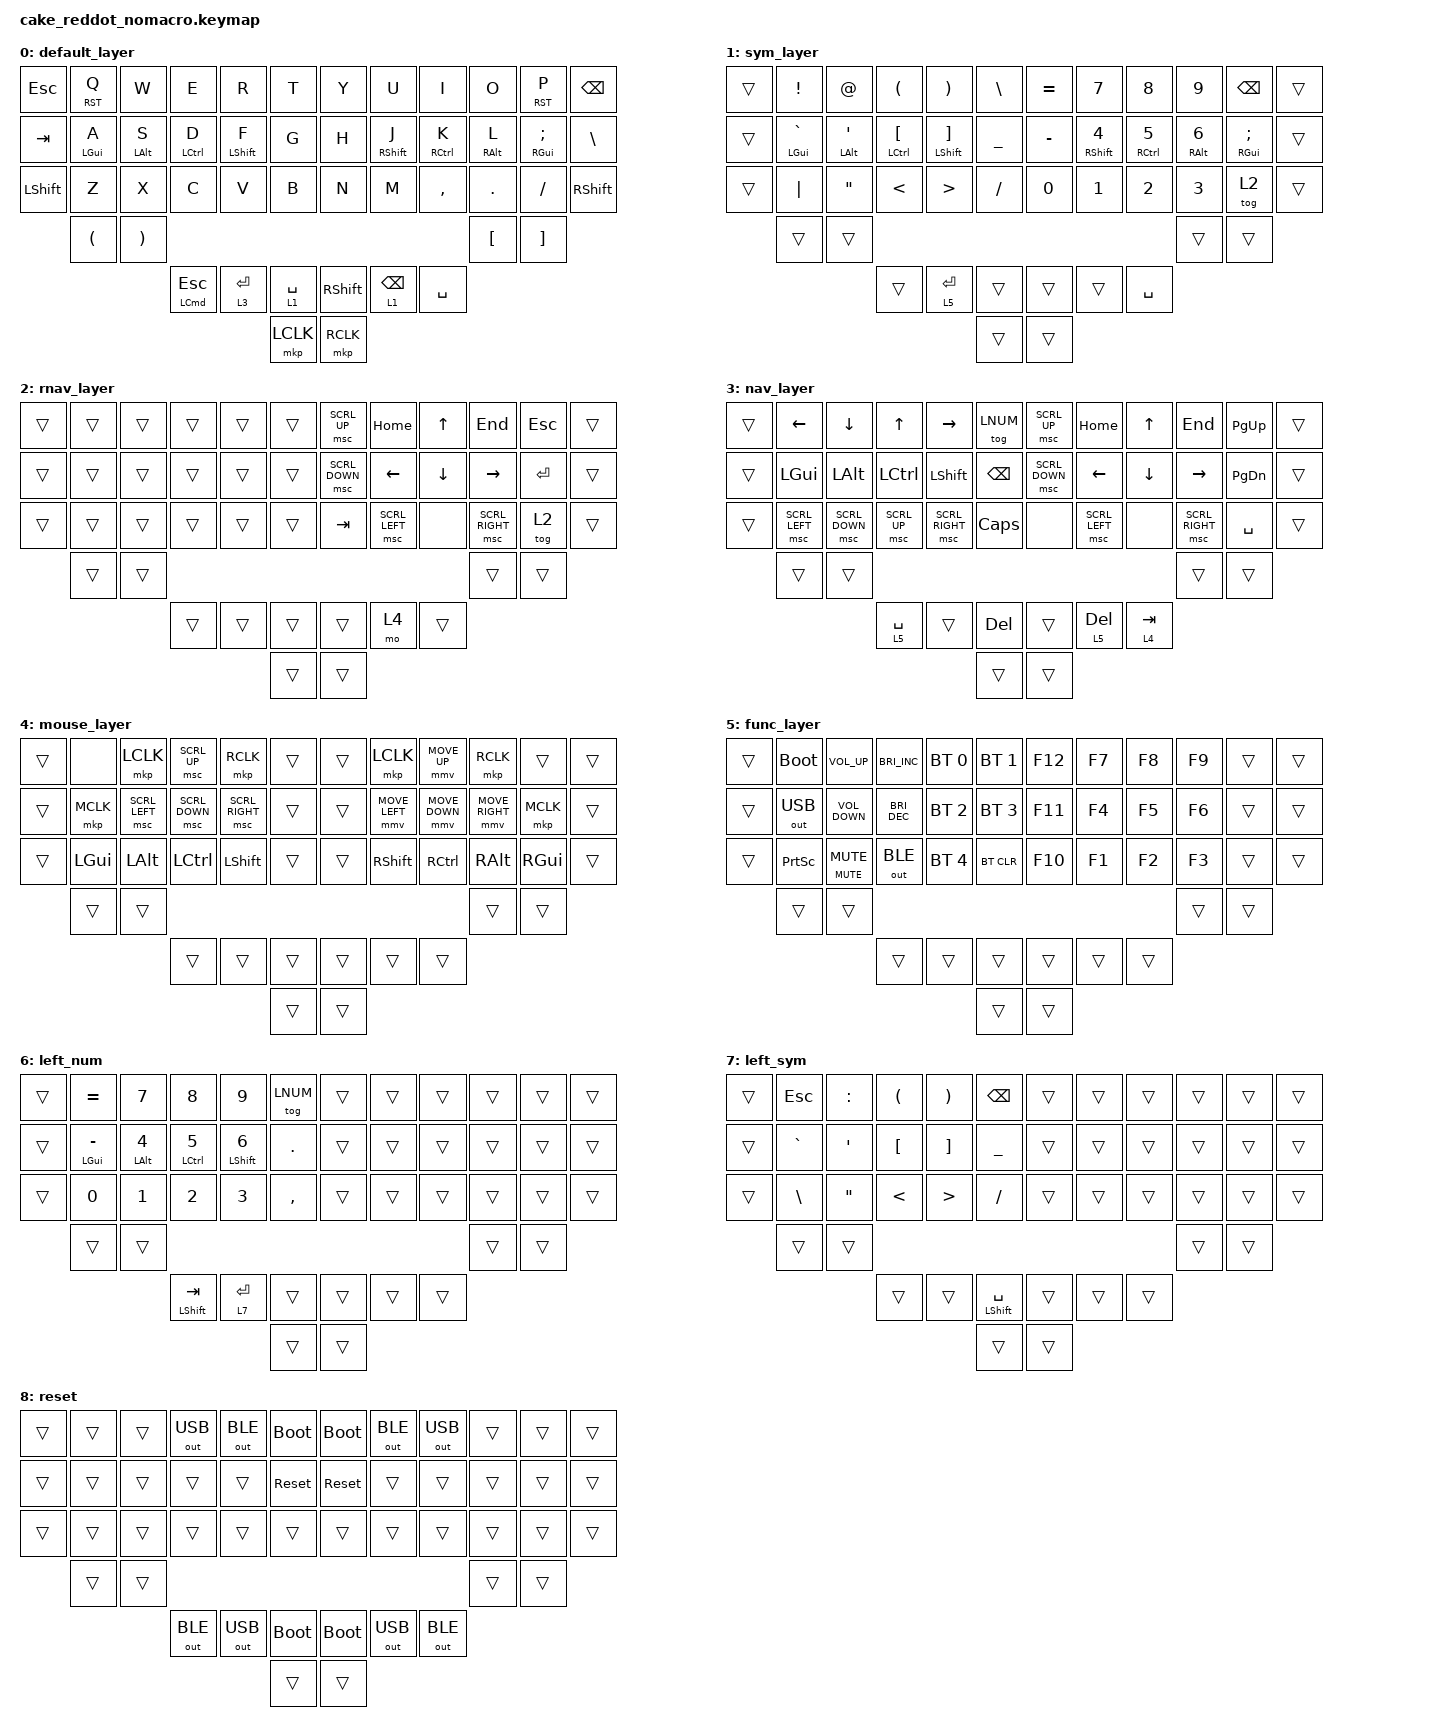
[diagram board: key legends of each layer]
#include <behaviors.dtsi>
#include <dt-bindings/zmk/bt.h>
#include <dt-bindings/zmk/keys.h>
#include <dt-bindings/zmk/outputs.h>
#include <dt-bindings/zmk/pointing.h>

#define DEFAULT 0
#define SYM     1
#define RNAV    2
#define NAV     3
#define MOUSE   4
#define FUNC    5
#define LNUM    6
#define LSYM    7
#define RST     8

/*
 * Defines to enable/disable features
 */

#define HAS_MOUSE_KEYS
#define HAS_MOUSE_TP

/ {
    combos { compatible = "zmk,combos"; };
};

/ {
    behaviors {
        hm: homerow_mods {
            compatible = "zmk,behavior-hold-tap";
            label = "HOMEROW_MODS";
            #binding-cells = <2>;
            tapping-term-ms = <200>;
            flavor = "balanced";
            bindings = <&kp>, <&kp>;

            quick-tap-ms = <0>;
        };

        hs: homerow_shift {
            compatible = "zmk,behavior-hold-tap";
            label = "HOMEROW_SHIFT";
            #binding-cells = <2>;
            tapping-term-ms = <175>;
            flavor = "balanced";
            bindings = <&kp>, <&kp>;

            quick-tap-ms = <0>;
        };

        rst: reset_hold_tap {
            compatible = "zmk,behavior-hold-tap";
            label = "reset_hold_tap";
            bindings = <&mo>, <&kp>;

            #binding-cells = <2>;
            tapping-term-ms = <999>;
            flavor = "tap-preferred";
            quick-tap-ms = <200>;
        };

        bsp_l: bsp_l {
            compatible = "zmk,behavior-hold-tap";
            label = "BSP_L";
            bindings = <&mo>, <&kp>;

            #binding-cells = <2>;
            tapping-term-ms = <200>;
            quick-tap-ms = <100>;
        };

        placeholder: placeholder {
            compatible = "zmk,behavior-hold-tap";
            label = "PLACEHOLDER";
            bindings = <&mo>, <&kp>;

            #binding-cells = <2>;
            tapping-term-ms = <200>;
        };
    };

    keymap {
        compatible = "zmk,keymap";

        default_layer {
            label = "default_layer";
            bindings = <
//    ┌──────┬──────────────┬────────────┬─────────────┬────────────┬──────────┐   ┌──────┬───────────────┬────────────┬────────────┬──────────────┬──────┐
//    │ esc  │ &rst rsftT Q │     W      │      E      │     R      │    T     │   │  Y   │       U       │     I      │     O      │ &rst rsftT P │ bspc │
//    ├──────┼──────────────┼────────────┼─────────────┼────────────┼──────────┤   ├──────┼───────────────┼────────────┼────────────┼──────────────┼──────┤
//    │ tab  │  &hm lgui A  │ &hm lalt S │ &hm lctl D  │ &hs lsft F │    G     │   │  H   │  &hs rsft J   │ &hm rctl K │ &hm ralt L │  &hm rgui ;  │  \   │
//    ├──────┼──────────────┼────────────┼─────────────┼────────────┼──────────┤   ├──────┼───────────────┼────────────┼────────────┼──────────────┼──────┤
//    │ lsft │      Z       │     X      │      C      │     V      │    B     │   │  N   │       M       │     ,      │     .      │      /       │ rsft │
//    └──────┼──────────────┼────────────┼─────────────┴────────────┴──────────┘   └──────┴───────────────┴────────────┼────────────┼──────────────┼──────┘
//           │      (       │     )      │                                                                             │     [      │      ]       │
//           └──────────────┴────────────┼─────────────┬────────────┬──────────┐   ┌──────┬───────────────┬────────────┼────────────┴──────────────┘
//                                       │ mt lgui esc │  lt 3 ent  │ lt 1 spc │   │ rsft │ &bsp_l 1 bspc │    spc     │
//                                       └─────────────┴────────────┼──────────┤   ├──────┼───────────────┴────────────┘
//                                                                  │   lclk   │   │ rclk │
//                                                                  └──────────┘   └──────┘
  &kp ESC     &rst RST Q   &kp W        &kp E                     &kp R          &kp T             &kp Y             &kp U                &kp I         &kp O        &rst RST P      &kp BSPC
  &kp TAB     &hm LGUI A   &hm LALT S   &hm LCTRL D               &hs LSHIFT F   &kp G             &kp H             &hs RSHIFT J         &hm RCTRL K   &hm RALT L   &hm RGUI SEMI   &kp BSLH
  &kp LSHFT   &kp Z        &kp X        &kp C                     &kp V          &kp B             &kp N             &kp M                &kp COMMA     &kp DOT      &kp FSLH        &kp RSHFT
              &kp LPAR     &kp RPAR                                                                                                                     &kp LBKT     &kp RBKT
                                        &mt LEFT_COMMAND ESCAPE   &lt 3 ENTER    &lt 1 SPACE       &kp RIGHT_SHIFT   &bsp_l 1 BACKSPACE   &kp SPACE
                                                                                 &mkp LCLK         &mkp RCLK
            >;
        };

        sym_layer {
            label = "sym_layer";
            bindings = <
//    ┌─────┬────────────┬────────────┬────────────┬────────────┬─────┐   ┌─────┬────────────┬────────────┬────────────┬────────────┬─────┐
//    │     │     !      │     @      │     (      │     )      │  \  │   │  =  │     7      │     8      │     9      │    bspc    │     │
//    ├─────┼────────────┼────────────┼────────────┼────────────┼─────┤   ├─────┼────────────┼────────────┼────────────┼────────────┼─────┤
//    │     │ &hm lgui ` │ &hm lalt ' │ &hm lctl [ │ &hs lsft ] │  _  │   │  -  │ &hs rsft 4 │ &hm rctl 5 │ &hm ralt 6 │ &hm rgui ; │     │
//    ├─────┼────────────┼────────────┼────────────┼────────────┼─────┤   ├─────┼────────────┼────────────┼────────────┼────────────┼─────┤
//    │     │     |      │     "      │     <      │     >      │  /  │   │  0  │     1      │     2      │     3      │   tog 2    │     │
//    └─────┼────────────┼────────────┼────────────┴────────────┴─────┘   └─────┴────────────┴────────────┼────────────┼────────────┼─────┘
//          │            │            │                                                                   │            │            │
//          └────────────┴────────────┼────────────┬────────────┬─────┐   ┌─────┬────────────┬────────────┼────────────┴────────────┘
//                                    │            │  lt 5 ent  │     │   │     │            │    spc     │
//                                    └────────────┴────────────┼─────┤   ├─────┼────────────┴────────────┘
//                                                              │     │   │     │
//                                                              └─────┘   └─────┘
  &trans   &kp EXCL         &kp AT              &kp LPAR         &kp RPAR          &kp BACKSLASH       &kp EQUAL   &kp N7         &kp N8         &kp N9        &kp BSPC        &trans
  &trans   &hm LGUI GRAVE   &hm LALT APOS       &hm LCTRL LBKT   &hs LSHIFT RBKT   &kp UNDER           &kp MINUS   &hs RSHFT N4   &hm RCTRL N5   &hm RALT N6   &hm RGUI SEMI   &trans
  &trans   &kp PIPE         &kp DOUBLE_QUOTES   &kp LT           &kp GT            &kp SLASH           &kp N0      &kp N1         &kp N2         &kp N3        &tog 2          &trans
           &trans           &trans                                                                                                               &trans        &trans
                                                &trans           &lt 5 ENTER       &trans              &trans      &trans         &kp SPACE
                                                                                   &trans              &trans
            >;
        };

        rnav_layer {
            label = "rnav_layer";
            bindings = <
//    ┌─────┬─────┬─────┬─────┬─────┬─────┐   ┌────────────────┬────────────────┬──────┬────────────────┬───────┬─────┐
//    │     │     │     │     │     │     │   │  &msc SCRL_up  │      home      │  up  │      end       │  esc  │     │
//    ├─────┼─────┼─────┼─────┼─────┼─────┤   ├────────────────┼────────────────┼──────┼────────────────┼───────┼─────┤
//    │     │     │     │     │     │     │   │ &msc SCRL_down │      left      │ down │      rght      │  ent  │     │
//    ├─────┼─────┼─────┼─────┼─────┼─────┤   ├────────────────┼────────────────┼──────┼────────────────┼───────┼─────┤
//    │     │     │     │     │     │     │   │      tab       │ &msc SCRL_left │      │ &msc SCRL_rght │ tog 2 │     │
//    └─────┼─────┼─────┼─────┴─────┴─────┘   └────────────────┴────────────────┴──────┼────────────────┼───────┼─────┘
//          │     │     │                                                              │                │       │
//          └─────┴─────┼─────┬─────┬─────┐   ┌────────────────┬────────────────┬──────┼────────────────┴───────┘
//                      │     │     │     │   │                │      mo 4      │      │
//                      └─────┴─────┼─────┤   ├────────────────┼────────────────┴──────┘
//                                  │     │   │                │
//                                  └─────┘   └────────────────┘
  &trans   &trans   &trans   &trans   &trans   &trans       &msc SCRL_UP     &kp HOME         &kp UP     &kp END           &kp ESC     &trans
  &trans   &trans   &trans   &trans   &trans   &trans       &msc SCRL_DOWN   &kp LEFT         &kp DOWN   &kp RIGHT         &kp ENTER   &trans
  &trans   &trans   &trans   &trans   &trans   &trans       &kp TAB          &msc SCRL_LEFT   &none      &msc SCRL_RIGHT   &tog 2      &trans
           &trans   &trans                                                                               &trans            &trans
                             &trans   &trans   &trans       &trans           &mo 4            &trans
                                               &trans       &trans
            >;
        };

        nav_layer {
            label = "nav_layer";
            bindings = <
//    ┌─────┬────────────────┬────────────────┬──────────────┬────────────────┬──────────┐   ┌────────────────┬────────────────┬──────────┬────────────────┬──────┬─────┐
//    │     │      left      │      down      │      up      │      rght      │ tog LNUM │   │  &msc SCRL_up  │      home      │    up    │      end       │ pgup │     │
//    ├─────┼────────────────┼────────────────┼──────────────┼────────────────┼──────────┤   ├────────────────┼────────────────┼──────────┼────────────────┼──────┼─────┤
//    │     │      lgui      │      lalt      │     lctl     │      lsft      │   bspc   │   │ &msc SCRL_down │      left      │   down   │      rght      │ pgdn │     │
//    ├─────┼────────────────┼────────────────┼──────────────┼────────────────┼──────────┤   ├────────────────┼────────────────┼──────────┼────────────────┼──────┼─────┤
//    │     │ &msc SCRL_left │ &msc SCRL_down │ &msc SCRL_up │ &msc SCRL_rght │   caps   │   │                │ &msc SCRL_left │          │ &msc SCRL_rght │ spc  │     │
//    └─────┼────────────────┼────────────────┼──────────────┴────────────────┴──────────┘   └────────────────┴────────────────┴──────────┼────────────────┼──────┼─────┘
//          │                │                │                                                                                           │                │      │
//          └────────────────┴────────────────┼──────────────┬────────────────┬──────────┐   ┌────────────────┬────────────────┬──────────┼────────────────┴──────┘
//                                            │   lt 5 spc   │                │   del    │   │                │    lt 5 del    │ lt 4 tab │
//                                            └──────────────┴────────────────┼──────────┤   ├────────────────┼────────────────┴──────────┘
//                                                                            │          │   │                │
//                                                                            └──────────┘   └────────────────┘
  &trans   &kp LEFT         &kp DOWN         &kp UP         &kp RIGHT         &tog LNUM       &msc SCRL_UP     &kp HOME         &kp UP      &kp END           &kp PG_UP   &trans
  &trans   &kp LGUI         &kp LALT         &kp LCTRL      &kp LSHFT         &kp BSPC        &msc SCRL_DOWN   &kp LEFT         &kp DOWN    &kp RIGHT         &kp PG_DN   &trans
  &trans   &msc SCRL_LEFT   &msc SCRL_DOWN   &msc SCRL_UP   &msc SCRL_RIGHT   &kp CAPS        &none            &msc SCRL_LEFT   &none       &msc SCRL_RIGHT   &kp SPACE   &trans
           &trans           &trans                                                                                                          &trans            &trans
                                             &lt 5 SPACE    &trans            &kp DEL         &trans           &lt 5 DEL        &lt 4 TAB
                                                                              &trans          &trans
            >;
        };

        mouse_layer {
            label = "mouse_layer";
            bindings = <
//    ┌─────┬──────┬────────────────┬────────────────┬────────────────┬─────┐   ┌─────┬────────────────┬────────────────┬────────────────┬──────┬─────┐
//    │     │      │      lclk      │  &msc SCRL_up  │      rclk      │     │   │     │      lclk      │  &mmv MOVE_up  │      rclk      │      │     │
//    ├─────┼──────┼────────────────┼────────────────┼────────────────┼─────┤   ├─────┼────────────────┼────────────────┼────────────────┼──────┼─────┤
//    │     │ mclk │ &msc SCRL_left │ &msc SCRL_down │ &msc SCRL_rght │     │   │     │ &mmv MOVE_left │ &mmv MOVE_down │ &mmv MOVE_rght │ mclk │     │
//    ├─────┼──────┼────────────────┼────────────────┼────────────────┼─────┤   ├─────┼────────────────┼────────────────┼────────────────┼──────┼─────┤
//    │     │ lgui │      lalt      │      lctl      │      lsft      │     │   │     │      rsft      │      rctl      │      ralt      │ rgui │     │
//    └─────┼──────┼────────────────┼────────────────┴────────────────┴─────┘   └─────┴────────────────┴────────────────┼────────────────┼──────┼─────┘
//          │      │                │                                                                                   │                │      │
//          └──────┴────────────────┼────────────────┬────────────────┬─────┐   ┌─────┬────────────────┬────────────────┼────────────────┴──────┘
//                                  │                │                │     │   │     │                │                │
//                                  └────────────────┴────────────────┼─────┤   ├─────┼────────────────┴────────────────┘
//                                                                    │     │   │     │
//                                                                    └─────┘   └─────┘
  &trans   &none       &mkp LCLK        &msc SCRL_UP     &mkp RCLK         &trans       &trans   &mkp LCLK        &mmv MOVE_UP     &mkp RCLK         &trans      &trans
  &trans   &mkp MCLK   &msc SCRL_LEFT   &msc SCRL_DOWN   &msc SCRL_RIGHT   &trans       &trans   &mmv MOVE_LEFT   &mmv MOVE_DOWN   &mmv MOVE_RIGHT   &mkp MCLK   &trans
  &trans   &kp LGUI    &kp LALT         &kp LCTRL        &kp LSHFT         &trans       &trans   &kp RSHFT        &kp RCTRL        &kp RALT          &kp RGUI    &trans
           &trans      &trans                                                                                                      &trans            &trans
                                        &trans           &trans            &trans       &trans   &trans           &trans
                                                                           &trans       &trans
            >;
        };

        func_layer {
            label = "func_layer";
            bindings = <
//    ┌─────┬──────────┬──────────────┬──────────┬──────────┬──────────┐   ┌─────┬─────┬─────┬─────┬─────┬─────┐
//    │     │   boot   │     volu     │   bri+   │ bt_sel 0 │ bt_sel 1 │   │ f12 │ f7  │ f8  │ f9  │     │     │
//    ├─────┼──────────┼──────────────┼──────────┼──────────┼──────────┤   ├─────┼─────┼─────┼─────┼─────┼─────┤
//    │     │ out_ usb │     vold     │   bri-   │ bt_sel 2 │ bt_sel 3 │   │ f11 │ f4  │ f5  │ f6  │     │     │
//    ├─────┼──────────┼──────────────┼──────────┼──────────┼──────────┤   ├─────┼─────┼─────┼─────┼─────┼─────┤
//    │     │   pscr   │ mt mute mute │ out_ ble │ bt_sel 4 │  bt_clr  │   │ f10 │ f1  │ f2  │ f3  │     │     │
//    └─────┼──────────┼──────────────┼──────────┴──────────┴──────────┘   └─────┴─────┴─────┼─────┼─────┼─────┘
//          │          │              │                                                      │     │     │
//          └──────────┴──────────────┼──────────┬──────────┬──────────┐   ┌─────┬─────┬─────┼─────┴─────┘
//                                    │          │          │          │   │     │     │     │
//                                    └──────────┴──────────┼──────────┤   ├─────┼─────┴─────┘
//                                                          │          │   │     │
//                                                          └──────────┘   └─────┘
  &trans   &bootloader       &kp C_VOLUME_UP     &kp C_BRIGHTNESS_INC   &bt BT_SEL 0   &bt BT_SEL 1       &kp F12   &kp F7   &kp F8   &kp F9   &trans   &trans
  &trans   &out OUT_USB      &kp C_VOLUME_DOWN   &kp C_BRIGHTNESS_DEC   &bt BT_SEL 2   &bt BT_SEL 3       &kp F11   &kp F4   &kp F5   &kp F6   &trans   &trans
  &trans   &kp PRINTSCREEN   &mt C_MUTE K_MUTE   &out OUT_BLE           &bt BT_SEL 4   &bt BT_CLR         &kp F10   &kp F1   &kp F2   &kp F3   &trans   &trans
           &trans            &trans                                                                                                   &trans   &trans
                                                 &trans                 &trans         &trans             &trans    &trans   &trans
                                                                                       &trans             &trans
            >;
        };

        left_num {
            label = "left_num";
            bindings = <
//    ┌─────┬────────────┬────────────┬─────────────┬────────────┬──────────┐   ┌─────┬─────┬─────┬─────┬─────┬─────┐
//    │     │     =      │     7      │      8      │     9      │ tog LNUM │   │     │     │     │     │     │     │
//    ├─────┼────────────┼────────────┼─────────────┼────────────┼──────────┤   ├─────┼─────┼─────┼─────┼─────┼─────┤
//    │     │ &hm lgui - │ &hm lalt 4 │ &hm lctl 5  │ &hs lsft 6 │    .     │   │     │     │     │     │     │     │
//    ├─────┼────────────┼────────────┼─────────────┼────────────┼──────────┤   ├─────┼─────┼─────┼─────┼─────┼─────┤
//    │     │     0      │     1      │      2      │     3      │    ,     │   │     │     │     │     │     │     │
//    └─────┼────────────┼────────────┼─────────────┴────────────┴──────────┘   └─────┴─────┴─────┼─────┼─────┼─────┘
//          │            │            │                                                           │     │     │
//          └────────────┴────────────┼─────────────┬────────────┬──────────┐   ┌─────┬─────┬─────┼─────┴─────┘
//                                    │ mt lsft tab │  lt 7 ent  │          │   │     │     │     │
//                                    └─────────────┴────────────┼──────────┤   ├─────┼─────┴─────┘
//                                                               │          │   │     │
//                                                               └──────────┘   └─────┘
  &trans   &kp EQUAL        &kp N7        &kp N8               &kp N9         &tog LNUM       &trans   &trans   &trans   &trans   &trans   &trans
  &trans   &hm LGUI MINUS   &hm LALT N4   &hm LCTRL N5         &hs LSHFT N6   &kp DOT         &trans   &trans   &trans   &trans   &trans   &trans
  &trans   &kp N0           &kp N1        &kp N2               &kp N3         &kp COMMA       &trans   &trans   &trans   &trans   &trans   &trans
           &trans           &trans                                                                                       &trans   &trans
                                          &mt LEFT_SHIFT TAB   &lt 7 ENTER    &trans          &trans   &trans   &trans
                                                                              &trans          &trans
            >;
        };

        left_sym {
            label = "left_sym";
            bindings = <
//    ┌─────┬─────┬─────┬─────┬─────┬─────────────┐   ┌─────┬─────┬─────┬─────┬─────┬─────┐
//    │     │ esc │  :  │  (  │  )  │    bspc     │   │     │     │     │     │     │     │
//    ├─────┼─────┼─────┼─────┼─────┼─────────────┤   ├─────┼─────┼─────┼─────┼─────┼─────┤
//    │     │  `  │  '  │  [  │  ]  │      _      │   │     │     │     │     │     │     │
//    ├─────┼─────┼─────┼─────┼─────┼─────────────┤   ├─────┼─────┼─────┼─────┼─────┼─────┤
//    │     │  \  │  "  │  <  │  >  │      /      │   │     │     │     │     │     │     │
//    └─────┼─────┼─────┼─────┴─────┴─────────────┘   └─────┴─────┴─────┼─────┼─────┼─────┘
//          │     │     │                                               │     │     │
//          └─────┴─────┼─────┬─────┬─────────────┐   ┌─────┬─────┬─────┼─────┴─────┘
//                      │     │     │ mt lsft spc │   │     │     │     │
//                      └─────┴─────┼─────────────┤   ├─────┼─────┴─────┘
//                                  │             │   │     │
//                                  └─────────────┘   └─────┘
  &trans   &kp ESC     &kp COLON           &kp LPAR   &kp RPAR   &kp BSPC                   &trans   &trans   &trans   &trans   &trans   &trans
  &trans   &kp GRAVE   &kp SQT             &kp LBKT   &kp RBKT   &kp UNDER                  &trans   &trans   &trans   &trans   &trans   &trans
  &trans   &kp BSLH    &kp DOUBLE_QUOTES   &kp LT     &kp GT     &kp FSLH                   &trans   &trans   &trans   &trans   &trans   &trans
           &trans      &trans                                                                                          &trans   &trans
                                           &trans     &trans     &mt LEFT_SHIFT SPACE       &trans   &trans   &trans
                                                                 &trans                     &trans
            >;
        };

        reset {
            label = "reset";
            bindings = <
//    ┌─────┬─────┬─────┬──────────┬──────────┬────────────┐   ┌────────────┬──────────┬──────────┬─────┬─────┬─────┐
//    │     │     │     │ out_ usb │ out_ ble │    boot    │   │    boot    │ out_ ble │ out_ usb │     │     │     │
//    ├─────┼─────┼─────┼──────────┼──────────┼────────────┤   ├────────────┼──────────┼──────────┼─────┼─────┼─────┤
//    │     │     │     │          │          │ &sys_reset │   │ &sys_reset │          │          │     │     │     │
//    ├─────┼─────┼─────┼──────────┼──────────┼────────────┤   ├────────────┼──────────┼──────────┼─────┼─────┼─────┤
//    │     │     │     │          │          │            │   │            │          │          │     │     │     │
//    └─────┼─────┼─────┼──────────┴──────────┴────────────┘   └────────────┴──────────┴──────────┼─────┼─────┼─────┘
//          │     │     │                                                                         │     │     │
//          └─────┴─────┼──────────┬──────────┬────────────┐   ┌────────────┬──────────┬──────────┼─────┴─────┘
//                      │ out_ ble │ out_ usb │    boot    │   │    boot    │ out_ usb │ out_ ble │
//                      └──────────┴──────────┼────────────┤   ├────────────┼──────────┴──────────┘
//                                            │            │   │            │
//                                            └────────────┘   └────────────┘
  &trans   &trans   &trans   &out OUT_USB   &out OUT_BLE   &bootloader       &bootloader   &out OUT_BLE   &out OUT_USB   &trans   &trans   &trans
  &trans   &trans   &trans   &trans         &trans         &sys_reset        &sys_reset    &trans         &trans         &trans   &trans   &trans
  &trans   &trans   &trans   &trans         &trans         &trans            &trans        &trans         &trans         &trans   &trans   &trans
           &trans   &trans                                                                                               &trans   &trans
                             &out OUT_BLE   &out OUT_USB   &bootloader       &bootloader   &out OUT_USB   &out OUT_BLE
                                                           &trans            &trans
            >;
        };
    };
};
